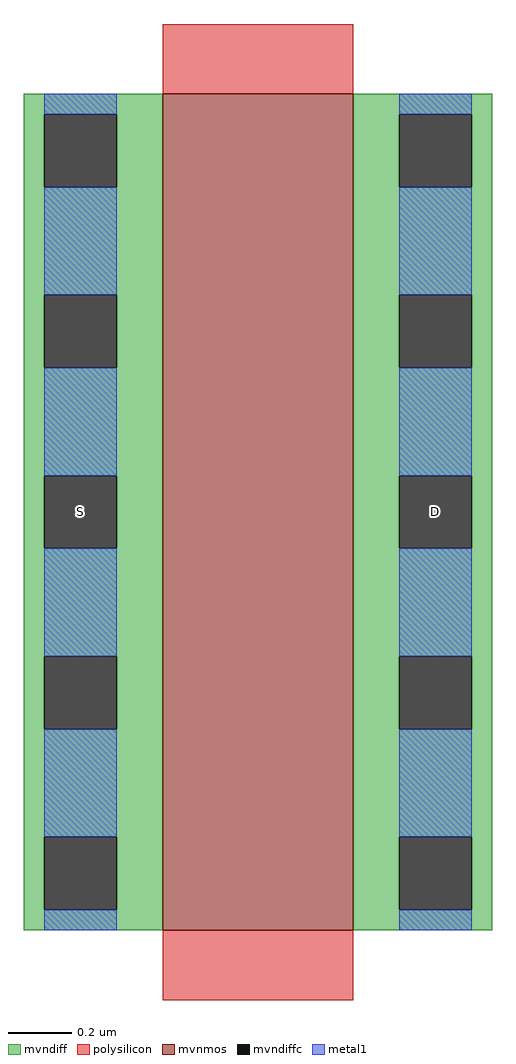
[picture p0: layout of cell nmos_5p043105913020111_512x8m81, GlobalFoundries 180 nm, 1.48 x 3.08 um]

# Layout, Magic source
magic
tech gf180mcuA
magscale 1 10
<< mvnmos >>
rect 0 0 120 528
<< mvndiff >>
rect -88 515 0 528
rect -88 469 -75 515
rect -29 469 0 515
rect -88 401 0 469
rect -88 355 -75 401
rect -29 355 0 401
rect -88 287 0 355
rect -88 241 -75 287
rect -29 241 0 287
rect -88 173 0 241
rect -88 127 -75 173
rect -29 127 0 173
rect -88 59 0 127
rect -88 13 -75 59
rect -29 13 0 59
rect -88 0 0 13
rect 120 515 208 528
rect 120 469 149 515
rect 195 469 208 515
rect 120 401 208 469
rect 120 355 149 401
rect 195 355 208 401
rect 120 287 208 355
rect 120 241 149 287
rect 195 241 208 287
rect 120 173 208 241
rect 120 127 149 173
rect 195 127 208 173
rect 120 59 208 127
rect 120 13 149 59
rect 195 13 208 59
rect 120 0 208 13
<< mvndiffc >>
rect -75 469 -29 515
rect -75 355 -29 401
rect -75 241 -29 287
rect -75 127 -29 173
rect -75 13 -29 59
rect 149 469 195 515
rect 149 355 195 401
rect 149 241 195 287
rect 149 127 195 173
rect 149 13 195 59
<< polysilicon >>
rect 0 528 120 572
rect 0 -44 120 0
<< metal1 >>
rect -75 515 -29 528
rect -75 401 -29 469
rect -75 287 -29 355
rect -75 173 -29 241
rect -75 59 -29 127
rect -75 0 -29 13
rect 149 515 195 528
rect 149 401 195 469
rect 149 287 195 355
rect 149 173 195 241
rect 149 59 195 127
rect 149 0 195 13
<< labels >>
flabel metal1 s -52 264 -52 264 0 FreeSans 200 0 0 0 S
flabel metal1 s 172 264 172 264 0 FreeSans 200 0 0 0 D
<< properties >>
string GDS_END 2104364
string GDS_FILE $PDKPATH/libs.ref/gf180mcu_fd_ip_sram/gds/gf180mcu_fd_ip_sram__sram512x8m8wm1.gds
string GDS_START 2102828
<< end >>
